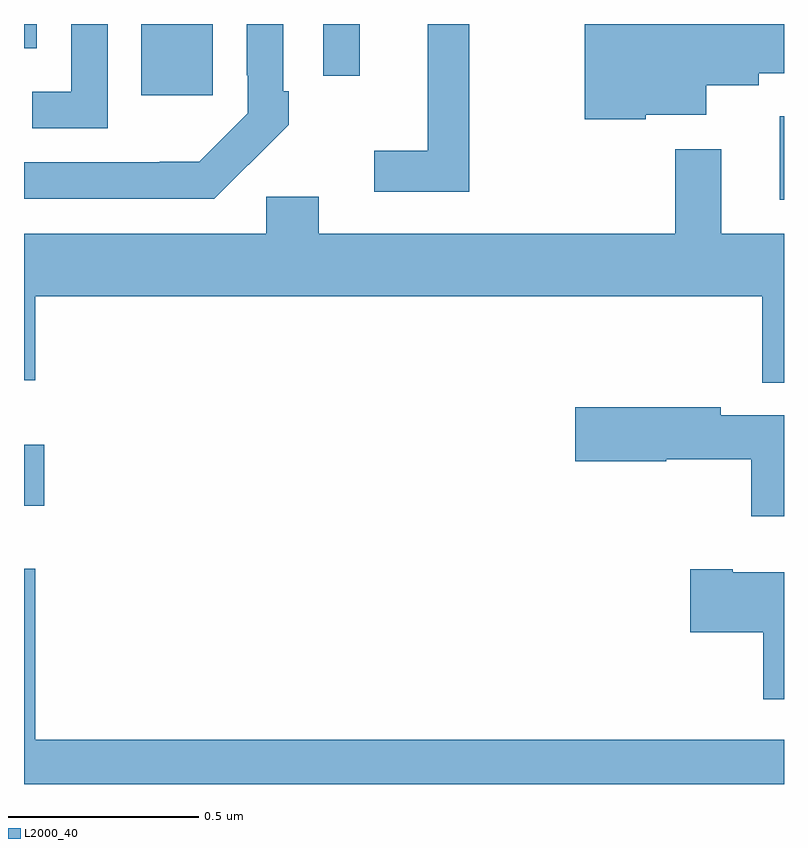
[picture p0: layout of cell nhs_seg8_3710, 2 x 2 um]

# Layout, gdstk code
import gdstk
lib = gdstk.Library(unit=1e-6, precision=1e-09)
def R(c, l, rs):  # rectangles x0, y0, x1, y1
    for r in rs: c.add(gdstk.rectangle(r[:2], r[2:], *l))
def P(c, l, *ps):  # polygons
    for p in ps: c.add(gdstk.Polygon(p, *l))
L2000_40 = (2000, 40)

nhs_seg8_3710 = lib.new_cell('nhs_seg8_3710')
R(nhs_seg8_3710, L2000_40, [(161,1098.632,161.053,1098.793), (162.989,1099.437,163,1099.657), (161.309,1099.713,161.497,1099.9), (161.787,1099.764,161.883,1099.9), (161,1099.836,161.034,1099.9)])
P(nhs_seg8_3710, L2000_40, [(161.22,1099.9),(161.124,1099.9),(161.124,1099.722),(161.022,1099.722),(161.022,1099.626),(161.22,1099.626)],
  [(162.636,1099.661),(162.796,1099.661),(162.796,1099.739),(162.934,1099.739),(162.934,1099.77),(163,1099.77),(163,1099.9),(162.475,1099.9),(162.475,1099.649),(162.636,1099.649)],
  [(161.591,1099.531),(161.592,1099.53),(161.697,1099.635),(161.697,1099.723),(161.682,1099.723),(161.682,1099.9),(161.586,1099.9),(161.586,1099.765),(161.589,1099.765),(161.589,1099.665),(161.461,1099.537),(161.357,1099.537),(161.357,1099.536),(161,1099.536),(161,1099.44),(161.5,1099.44)],
  [(162.172,1099.9),(162.062,1099.9),(162.062,1099.567),(161.922,1099.567),(161.922,1099.458),(162.172,1099.458)],
  [(163,1099.348),(162.835,1099.348),(162.835,1099.57),(162.714,1099.57),(162.714,1099.348),(161.776,1099.348),(161.776,1099.446),(161.637,1099.446),(161.637,1099.348),(161,1099.348),(161,1098.963),(161.029,1098.963),(161.029,1099.184),(162.943,1099.184),(162.943,1098.956),(163,1098.956)],
  [(163,1098.871),(162.834,1098.871),(162.834,1098.891),(162.45,1098.891),(162.45,1098.749),(162.69,1098.749),(162.69,1098.754),(162.914,1098.754),(162.914,1098.605),(163,1098.605)],
  [(163,1098.016),(161.029,1098.016),(161.029,1098.466),(161,1098.466),(161,1097.9),(163,1097.9)],
  [(163,1098.457),(162.865,1098.457),(162.865,1098.465),(162.753,1098.465),(162.753,1098.299),(162.946,1098.299),(162.946,1098.123),(163,1098.123)])

lib.write_gds('nhs_seg8_3710.gds')
